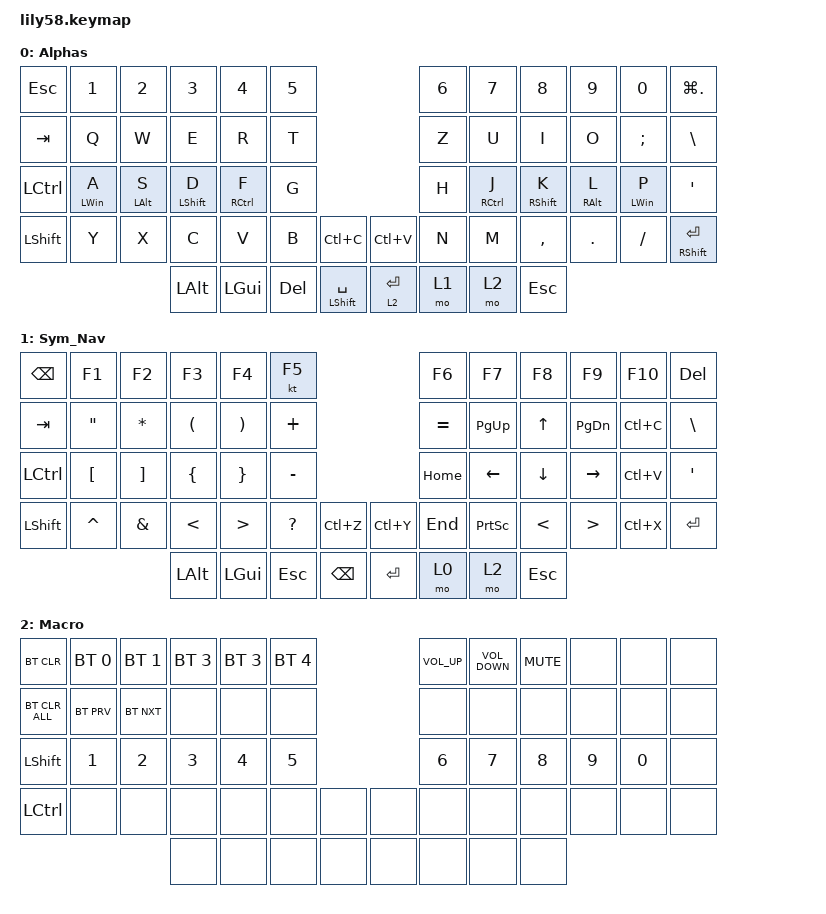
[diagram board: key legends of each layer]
/*
 * Copyright (c) 2020 The ZMK Contributors
 *
 * SPDX-License-Identifier: MIT
 */

#include <behaviors.dtsi>
#include <dt-bindings/zmk/bt.h>
#include <dt-bindings/zmk/keys.h>
#include <dt-bindings/zmk/keys.h>

/ {
    behaviors {
        hm: homerow_mods {
            compatible = "zmk,behavior-hold-tap";
            #binding-cells = <2>;
            tapping-term-ms = <150>;
            quick-tap-ms = <0>;
            flavor = "tap-preferred";
            bindings = <&kp>, <&kp>;
        };
    };

    keymap {
        compatible = "zmk,keymap";

        default_layer {
            // ------------------------------------------------------------------------------------------------------------
            // |  ESC  |  1  |  2  |  3   |  4   |  5   |                   |  6   |  7    |  8    |  9   |   0   |   `   |
            // |  TAB  |  Q  |  W  |  E   |  R   |  T   |                   |  Y   |  U    |  I    |  O   |   P   |   -   |
            // |  CTRL |  A  |  S  |  D   |  F   |  G   |                   |  H   |  J    |  K    |  L   |   ;   |   '   |
            // | SHIFT |  Z  |  X  |  C   |  V   |  B   |   "["  |  |  "]"  |  N   |  M    |  ,    |  .   |   /   | SHIFT |
            //                     | ALT  | GUI  | LOWER|  SPACE |  | ENTER | RAISE| BSPC  | GUI   |

            display-name = "Alphas";
            bindings = <
&kp ESC           &kp N1          &kp N2          &kp N3            &kp N4       &kp N5                                        &kp N6  &kp N7       &kp N8             &kp N9           &kp N0          &kp LG(PERIOD)
&kp TAB           &kp Q           &kp W           &kp E             &kp R        &kp T                                         &kp Z   &kp U        &kp I              &kp O            &kp SEMI        &kp BACKSLASH
&kp LEFT_CONTROL  &mt LEFT_WIN A  &mt LEFT_ALT S  &mt LEFT_SHIFT D  &mt RCTRL F  &kp G                                         &kp H   &mt RCTRL J  &mt RIGHT_SHIFT K  &mt RIGHT_ALT L  &mt LEFT_WIN P  &kp SQT
&kp LEFT_SHIFT    &kp Y           &kp X           &kp C             &kp V        &kp B    &kp LC(C)               &kp LC(V)    &kp N   &kp M        &kp COMMA          &kp DOT          &kp FSLH        &mt RIGHT_SHIFT RETURN
                                                  &kp LALT          &kp LGUI     &kp DEL  &mt LEFT_SHIFT SPACE    &lt 2 ENTER  &mo 1   &mo 2        &kp ESCAPE
            >;

            label = "Alphas";
        };

        Sym_Nav_Layer {
            bindings = <
&kp BACKSPACE  &kp F1             &kp F2             &kp F3                &kp F4                 &kt F5                                    &kp F6     &kp F7           &kp F8        &kp F9         &kp F10    &kp DEL
&kp TAB        &kp DOUBLE_QUOTES  &kp ASTRK          &kp LEFT_PARENTHESIS  &kp RIGHT_PARENTHESIS  &kp PLUS                                  &kp EQUAL  &kp PAGE_UP      &kp UP_ARROW  &kp PAGE_DOWN  &kp LC(C)  &kp BSLH
&kp LCTRL      &kp LEFT_BRACKET   &kp RIGHT_BRACKET  &kp LEFT_BRACE        &kp RIGHT_BRACE        &kp MINUS                                 &kp HOME   &kp LEFT         &kp DOWN      &kp RIGHT      &kp LC(V)  &kp APOS
&kp LSHFT      &kp CARET          &kp AMPS           &kp LESS_THAN         &kp GREATER_THAN       &kp QUESTION  &kp LC(Z)        &kp LC(Y)  &kp END    &kp PRINTSCREEN  &kp LT        &kp GT         &kp LC(X)  &kp ENTER
                                                     &kp LALT              &kp LGUI               &kp ESCAPE    &kp BACKSPACE    &kp ENTER  &mo 0      &mo 2            &kp ESCAPE
            >;

            label = "Sym_Nav";
        };

        macro_layer {
            display-name = "Macro";
            bindings = <
&bt BT_CLR      &bt BT_SEL 0  &bt BT_SEL 1  &bt BT_SEL 3  &bt BT_SEL 3  &bt BT_SEL 4                  &kp C_VOLUME_UP  &kp C_VOLUME_DOWN  &kp K_MUTE  &none   &none   &none
&bt BT_CLR_ALL  &bt BT_PRV    &bt BT_NXT    &none         &none         &none                         &none            &none              &none       &none   &none   &none
&kp LEFT_SHIFT  &kp NUMBER_1  &kp NUMBER_2  &kp NUMBER_3  &kp NUMBER_4  &kp N5                        &kp NUMBER_6     &kp N7             &kp N8      &kp N9  &kp N0  &none
&kp LCTRL       &none         &none         &none         &none         &none         &none    &none  &none            &none              &none       &none   &none   &none
                                            &none         &none         &none         &none    &none  &none            &none              &none
            >;

            label = "Macro";
        };
    };
};
